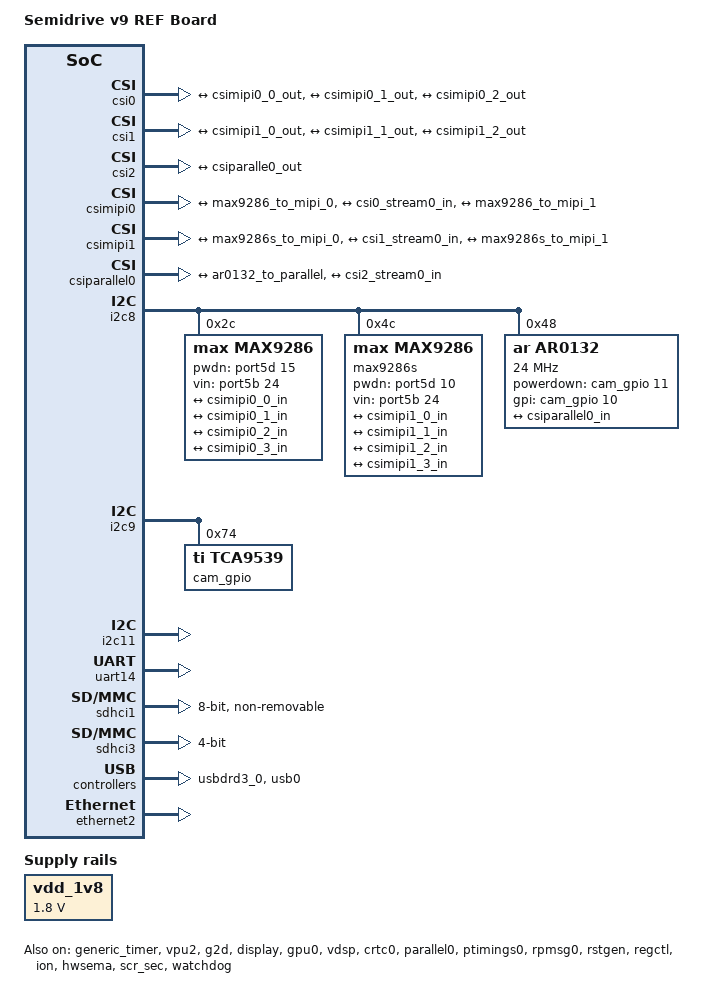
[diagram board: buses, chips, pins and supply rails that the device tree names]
/*
 * Semidrive V9 platform DTS file
 *
 * Copyright (C) 2019, Semidrive  Communications Inc.
 *
 * This file is licensed under a dual GPLv2 or X11 license.
 */

/dts-v1/;

#include "v9f_ap.dtsi"
#include "v9f_ref-clk-ctrl.dtsi"
#include "lcd-timings.dtsi"
#include <dt-bindings/pinctrl/pins-sdx9.h>
#include <dt-bindings/memmap/v9f/projects/default/image_cfg.h>
#include <dt-bindings/memory/sdrv_ion.h>
#include <dt-bindings/rpmsg/sd,v9f-default.h>

/ {
	model = "Semidrive v9 REF Board";

	compatible = "semidrive,kunlun";

	aliases {
		serial0 = &uart14;
		ethernet2 = &ethernet2;
	};

	memory@50000000 {
		device_type = "memory";
		reg = <HIGH32(AP2_KERNEL_MEMBASE-0x80000) LOW32(AP2_KERNEL_MEMBASE-0x80000) HIGH32(AP2_KERNEL_MEMSIZE) LOW32(AP2_KERNEL_MEMSIZE) \
                       0x0 (VDSP_SHARE_MEMBASE+0x4000) 0x0 (VDSP_SHARE_MEMSIZE-0x4000)>;
	};

	reserved-memory {
		#address-cells = <2>;
		#size-cells = <2>;
		ranges;

		/* Default Common CMA Pool */
		/* QUIRK: Must be kept in the lower 4096 MiBs of DRAM banks for VE */
		linux,cma {
			compatible = "shared-dma-pool";
			reusable;
			size = <0x0 0x40000000>; /* 1024MB */
			/* 4GB maximum in case of 32-bit only capable devices */
			alloc-ranges = <0x0 0x0 0x0 0xffffffff>;
			linux,cma-default;
		};

		xrp_reserved: xrp@0 {
			compatible = "shared-dma-pool";
			status = "okay";
			no-map;
			reg = <0x0 VDSP_SHARE_MEMBASE 0x0 0x4000>;
		};

		xrp_shared: xrp,shmem {
			reg = <0x0 (VDSP_SHARE_MEMBASE+0x4000) 0x0 (VDSP_SHARE_MEMSIZE-0x4000)>;
		};

		rproc_0_safety: rproc@0 {
			compatible = "shared-dma-pool";
			no-map;
			reg = <0x0 RPMSG0_MEM_POOL_BASE 0x0 RPMSG0_MEM_POOL_SIZE>;
		};

	};

	chosen {
		bootargs = "skip_initramfs noinitrd root=/dev/mmcblk0p7 rootfstype=ext4 rootwait rw init=/sbin/init highres=1 nr_cpus=1 earlycon loglevel=11 console=ttyS0,115200n8 fbcon=map:1";
		stdout-path = "serial0";
	};

	vdd_1v8: fixed-vdd_1v8 {
		compatible = "regulator-fixed";
		regulator-name = "vdd_1v8";
		regulator-min-microvolt = <1800000>;
		regulator-max-microvolt = <1800000>;
	};

};

&cpu0 {
	clocks = <&CPU2_0>;
	clock-names = "cpu0";
	next-level-cache = <&l2>;
	status = "okay";
};

&dmac2 {
	status = "okay";
};
&dmac3 {
	status = "okay";
};
&dmac4 {
	status = "okay";
};

&dmac5 {
	status = "okay";
};
&dmac6 {
	status = "okay";
};
&dmac7 {
	status = "okay";
};

&csi0 {
	mbus-type = "mipi-csi2";
	pclk-sample = <1>;
	status = "okay";

	ports {
		csi0_stream0: port@0 {
			csi0_stream0_in: endpoint@0 {
				remote-endpoint = <&csimipi0_0_out>;
			};
		};
		csi0_stream1: port@1 {
			csi0_stream1_in: endpoint@0 {
				remote-endpoint = <&csimipi0_1_out>;
			};
		};
		csi0_stream2: port@2 {
			csi0_stream2_in: endpoint@0 {
				remote-endpoint = <&csimipi0_2_out>;
			};
		};
		csi0_stream3: port@3 {
			csi0_stream3_in: endpoint@0 {
				remote-endpoint = <&csimipi0_3_out>;
			};
		};
	};
};

&csi1 {
	mbus-type = "mipi-csi2";
	pclk-sample = <1>;
	status = "okay";

	ports {
		csi1_stream0: port@0 {
			csi1_stream0_in: endpoint@0 {
				remote-endpoint = <&csimipi1_0_out>;
			};
		};
		csi1_stream1: port@1 {
			csi1_stream1_in: endpoint@0 {
				remote-endpoint = <&csimipi1_1_out>;
			};
		};
		csi1_stream2: port@2 {
			csi1_stream2_in: endpoint@0 {
				remote-endpoint = <&csimipi1_2_out>;
			};
		};
		csi1_stream3: port@3 {
			csi1_stream3_in: endpoint@0 {
				remote-endpoint = <&csimipi1_3_out>;
			};
		};
	};
};

&csi2 {
	mbus-type = "parallel";
	vsync-active = <0>;
	pclk-sample = <1>;
	status = "okay";

	ports {
		csi2_stream0: port@0 {
			csi2_stream0_in: endpoint@0 {
				remote-endpoint = <&csiparalle0_out>;
			};
		};

	};
};

&csimipi0 {
	status = "okay";
	lanerate = <72000000>;
	hsa = <10>;
	hbp = <20>;
	hsd = <0x60>;
	output-type = <0x1e>;

	ports {
		#address-cells = <1>;
		#size-cells = <0>;

		port@0 {
			#address-cells = <1>;
			#size-cells = <0>;
			reg = <0>;
			csimipi0_0_in: endpoint@0 {
				remote-endpoint = <&max9286_to_mipi_0>;
				reg = <0>;
			};
			csimipi0_0_out: endpoint@1 {
				remote-endpoint = <&csi0_stream0_in>;
				reg = <0>;
			};
		};
		port@1 {
			#address-cells = <1>;
			#size-cells = <0>;
			reg = <1>;
			csimipi0_1_in: endpoint@0 {
				remote-endpoint = <&max9286_to_mipi_1>;
				reg = <1>;
			};
			csimipi0_1_out: endpoint@1 {
				remote-endpoint = <&csi0_stream1_in>;
				reg = <1>;
			};
		};
		port@2 {
			#address-cells = <1>;
			#size-cells = <0>;
			reg = <2>;
			csimipi0_2_in: endpoint@0 {
				remote-endpoint = <&max9286_to_mipi_2>;
				reg = <2>;
			};
			csimipi0_2_out: endpoint@1 {
				remote-endpoint = <&csi0_stream2_in>;
				reg = <2>;
			};
		};
		port@3 {
			#address-cells = <1>;
			#size-cells = <0>;
			reg = <3>;
			csimipi0_3_in: endpoint@0 {
				remote-endpoint = <&max9286_to_mipi_3>;
				reg = <3>;
			};
			csimipi0_3_out: endpoint@1 {
				remote-endpoint = <&csi0_stream3_in>;
				reg = <3>;
			};
		};
	};
};

&csimipi1 {
	status = "okay";
	lanerate = <72000000>;
	hsa = <10>;
	hbp = <20>;
	hsd = <0x60>;
	output-type = <0x1e>;

	ports {
		#address-cells = <1>;
		#size-cells = <0>;

		port@0 {
			#address-cells = <1>;
			#size-cells = <0>;
			reg = <0>;
			csimipi1_0_in: endpoint@0 {
				remote-endpoint = <&max9286s_to_mipi_0>;
				reg = <0>;
			};
			csimipi1_0_out: endpoint@1 {
				remote-endpoint = <&csi1_stream0_in>;
				reg = <0>;
			};
		};
		port@1 {
			#address-cells = <1>;
			#size-cells = <0>;
			reg = <1>;
			csimipi1_1_in: endpoint@0 {
				remote-endpoint = <&max9286s_to_mipi_1>;
				reg = <1>;
			};
			csimipi1_1_out: endpoint@1 {
				remote-endpoint = <&csi1_stream1_in>;
				reg = <1>;
			};
		};
		port@2 {
			#address-cells = <1>;
			#size-cells = <0>;
			reg = <2>;
			csimipi1_2_in: endpoint@0 {
				remote-endpoint = <&max9286s_to_mipi_2>;
				reg = <2>;
			};
			csimipi1_2_out: endpoint@1 {
				remote-endpoint = <&csi1_stream2_in>;
				reg = <2>;
			};
		};
		port@3 {
			#address-cells = <1>;
			#size-cells = <0>;
			reg = <3>;
			csimipi1_3_in: endpoint@0 {
				remote-endpoint = <&max9286s_to_mipi_3>;
				reg = <3>;
			};
			csimipi1_3_out: endpoint@1 {
				remote-endpoint = <&csi1_stream3_in>;
				reg = <3>;
			};
		};
	};
};

&csiparallel0 {
	status = "okay";
	#address-cells = <1>;
	#size-cells = <0>;

	port {
		#address-cells = <1>;
		#size-cells = <0>;
		reg = <0>;
		csiparallel0_in: endpoint@0 {
			remote-endpoint = <&ar0132_to_parallel>;
		};

		csiparallel0_out: endpoint@1 {
			remote-endpoint = <&csi2_stream0_in>;
		};
	};
};

&i2c4 {
        status = "disabled";
};

&i2c5 {
        status = "disabled";
};

&i2c6 {
        status = "disabled";
};

&i2c7 {
        status = "disabled";
};

&i2c8 {
        status = "okay";

        max9286:max9286@2c {
                compatible = "max,max9286";
                reg = <0x2c>;
                pwdn-gpios = <&port5d 15 0>;
                vin-gpios = <&port5b 24 0>;
                addr_20086 = /bits/ 16 <0x2b>;
                addr_20086_ = /bits/ 16 <0x29>;
                addr_96705 = /bits/ 16 <0x40>;
                addr_0101 = /bits/ 16 <0x5d>;
                semidrive,poc = <&i2c9>;
                ports {
                        port@0 {
                                #address-cells = <1>;
                                #size-cells = <0>;

                                max9286_to_mipi_0: endpoint {
                                        remote-endpoint = <&csimipi0_0_in>;
                                };
                        };
                        port@1 {
                                #address-cells = <1>;
                                #size-cells = <0>;

                                max9286_to_mipi_1: endpoint {
                                        remote-endpoint = <&csimipi0_1_in>;
                                };
                        };
                        port@2 {
                                #address-cells = <1>;
                                #size-cells = <0>;

                                max9286_to_mipi_2: endpoint {
                                        remote-endpoint = <&csimipi0_2_in>;
                                };
                        };
                        port@3 {
                                #address-cells = <1>;
                                #size-cells = <0>;

                                max9286_to_mipi_3: endpoint {
                                        remote-endpoint = <&csimipi0_3_in>;
                                };
                        };
                };
        };

        max9286s:max9286s@4c {
                compatible = "max,max9286";
                reg = <0x4c>;
                pwdn-gpios = <&port5d 10 0>;
                vin-gpios = <&port5b 24 0>;
                addr_20086 = /bits/ 16 <0x2a>;
                addr_20086_ = /bits/ 16 <0x28>;
                addr_96705 = /bits/ 16 <0x40>;
                addr_0101 = /bits/ 16 <0x5d>;
                semidrive,poc = <&i2c9>;
                ports {
                        port@0 {
                                #address-cells = <1>;
                                #size-cells = <0>;

                                max9286s_to_mipi_0: endpoint {
                                        remote-endpoint = <&csimipi1_0_in>;
                                };
                        };
                        port@1 {
                                #address-cells = <1>;
                                #size-cells = <0>;

                                max9286s_to_mipi_1: endpoint {
                                        remote-endpoint = <&csimipi1_1_in>;
                                };
                        };
                        port@2 {
                                #address-cells = <1>;
                                #size-cells = <0>;

                                max9286s_to_mipi_2: endpoint {
                                        remote-endpoint = <&csimipi1_2_in>;
                                };
                        };
                        port@3 {
                                #address-cells = <1>;
                                #size-cells = <0>;

                                max9286s_to_mipi_3: endpoint {
                                        remote-endpoint = <&csimipi1_3_in>;
                                };
                        };
                };
        };

        ar0132:ar0132@48 {
                compatible = "ar,ar0132";
                clock-frequency = <24000000>;
                reg = <0x48>;
                powerdown-gpios = <&cam_gpio 11 0>;
                gpi-gpios = <&cam_gpio 10 0>;
                port {
                        #address-cells = <1>;
                        #size-cells = <0>;

                        ar0132_to_parallel: endpoint {
                                remote-endpoint = <&csiparallel0_in>;
                        };
                };
        };
};

&i2c9 {
        status = "okay";

	cam_gpio: gpio@74 {
		compatible = "ti,tca9539";
		reg = <0x74>;
		#gpio-cells = <2>;
		gpio-controller;
	};
};

&i2c10 {
        status = "disabled";
};

&i2c11 {
	status = "okay";
};

&i2c12 {
	status = "disabled";
};

&i2c13 {
        status = "disabled";
};

&i2c14 {
	status = "disabled";
};

&i2c15 {
	status = "disabled";

};

&uart14 {
	dmas = <&dmac4 X9_DMA_SLV_ID_UART15_TX>, <&dmac4 X9_DMA_SLV_ID_UART15_RX>;
	dma-names = "tx", "rx";
	status = "okay";
};

&generic_timer {
	status = "okay";
};

&adc_ap {
	resolution_value = <0x03>; /*ADC_6_BITS_E0 = 0x00 , ADC_8_BITS_E1 = 0x01 , ADC_10_BITS_E2 = 0x02 , ADC_12_BITS_E3 = 0x03*/
	clksrc_sel = <0x00>; /*ADC_SRC_CLK_ALT_E0 = 0x00 , ADC_SRC_CLK_PCLK_E1 = 0x01 , ADC_SRC_CLK_EXT_E2 = 0x02*/
	clk_value = <24000000>;
	use-adc-fifo;
	vref-supply = <&vdd_1v8>;
	status = "disabled";
};

&vpu2 {
	resets = <&rstgen RSTGEN_MODULE_VPU2>;
	reset-names = "vpu-reset";
	status = "okay";
};

&g2d {
	status = "okay";
};

&display {
	sdriv,crtc = <&crtc0>;
	status = "okay";
};

&gpu0 {
	status = "okay";
};

&vdsp {
	reg = <0x0 VDSP_SHARE_MEMBASE 0x0 0x1000>, /* DSP command queue */
	      <0x0 (VDSP_SHARE_MEMBASE+0x4000) 0x0 (VDSP_SHARE_MEMSIZE-0x4000)>, /* DSP shared memory */
	      <0x0 0x34040000 0x0 0x1000>, /* vdsp mu base address, pass to vdsp, won't map */
	      <0x0 0x38316000 0x0 0x1000>, /* scr 0x458 */
	      <0x0 0x3839e000 0x0 0x1000>, /* scr 0x678 */
	      <0x0 0x38401000 0x0 0x2000>, /* rstgen core 0 */
	      <0x0 0x38466000 0x0 0x1000>; /* rstgen module 38 */
	firmware-name = "xtensa.elf";
	firmware-entry = <VDSP_MEMBASE>;
	/*data ram0, data ram1, system ram, shared ram*/
	ranges = <0x0 0x00a00000 0x0 0x00a00000 0x0 0x00020000
		  0x0 0x00a20000 0x0 0x00a20000 0x0 0x00020000
                  0x0 LOW32(AP2_KERNEL_MEMBASE-0x80000) 0x0 LOW32(AP2_KERNEL_MEMBASE-0x80000) 0x0 LOW32(0x100000000-AP2_KERNEL_MEMBASE+0x80000)
		  0x0 VDSP_MEMBASE 0x0 VDSP_MEMBASE 0x0 VDSP_MEMSIZE
		  0x0 VDSP_SHARE_MEMBASE 0x0 VDSP_SHARE_MEMBASE 0x0 VDSP_SHARE_MEMSIZE>;
	status = "okay";
};

&crtc0 {
	status = "okay";
};

&parallel0 {
	status = "okay";
};

&dtimings0 {
	native-mode = <&hd1024x600>;
};

&ptimings0 {
	status = "okay";
};

&pinctrl {
	reg = <0x0 0x37000000 0x0 0x10000>;
	pinctrl-names = "default";

	sdx9-evk {
		pinctrl_mshc1: mshc1grp {
		kunlun,pins = <
			X9_PINCTRL_EMMC1_CLK__MSHC1_CLK_1 		X9_PINCTRL_OPEN_DRAIN_DISABLE
			X9_PINCTRL_EMMC1_CMD__MSHC1_CMD_1		X9_PINCTRL_OPEN_DRAIN_DISABLE
			X9_PINCTRL_EMMC1_DATA0__MSHC1_DATA_0_1	X9_PINCTRL_OPEN_DRAIN_DISABLE
			X9_PINCTRL_EMMC1_DATA1__MSHC1_DATA_1_1	X9_PINCTRL_OPEN_DRAIN_DISABLE
			X9_PINCTRL_EMMC1_DATA2__MSHC1_DATA_2_1	X9_PINCTRL_OPEN_DRAIN_DISABLE
			X9_PINCTRL_EMMC1_DATA3__MSHC1_DATA_3_1	X9_PINCTRL_OPEN_DRAIN_DISABLE
			X9_PINCTRL_EMMC1_DATA4__MSHC1_DATA_4_1	X9_PINCTRL_OPEN_DRAIN_DISABLE
			X9_PINCTRL_EMMC1_DATA5__MSHC1_DATA_5_1	X9_PINCTRL_OPEN_DRAIN_DISABLE
			X9_PINCTRL_EMMC1_DATA6__MSHC1_DATA_6_1	X9_PINCTRL_OPEN_DRAIN_DISABLE
			X9_PINCTRL_EMMC1_DATA7__MSHC1_DATA_7_1	X9_PINCTRL_OPEN_DRAIN_DISABLE
			X9_PINCTRL_EMMC1_STROBE__MSHC1_STB_1		X9_PINCTRL_OPEN_DRAIN_ENABLE
			X9_PINCTRL_EMMC1_RESET_N__MSHC1_RST_N_1	X9_PINCTRL_OPEN_DRAIN_DISABLE
			>;
		};

		pinctrl_gpiotouch_lvds: touchgrp_lvds {
                        kunlun,pins = <
			X9_PINCTRL_I2S_MC_SD4__GPIO_MUX2_IO80_1          0x00
			X9_PINCTRL_I2S_MC_SD5__GPIO_MUX2_IO81_1          0x00
                        X9_PINCTRL_I2S_MC_SD6__GPIO_MUX2_IO82_1          0x00
                        X9_PINCTRL_I2S_MC_SD7__GPIO_MUX2_IO83_1          0x00
                        >;
                };
		pinctrl_gpiotouch_mipi: touchgrp_mipi {
                        kunlun,pins = <
			X9_PINCTRL_EMMC2_CLK__GPIO_MUX2_IO96_1          0x00
			X9_PINCTRL_EMMC2_CMD__GPIO_MUX2_IO97_1          0x00
                        >;
                };
	};
};

&gpio5 {
	//pinctrl-names = "default";
	//pinctrl-0 = <&pinctrl_gpiotouch_lvds &pinctrl_gpiotouch_mipi>;
	status = "okay";
};

&sdhci1 {
	bus-width = <8>;
	non-removable;
	no-sdio;
	no-sd;
	card-is-emmc;
	disable-wp;
	cap-mmc-highspeed;
	keep-power-in-suspend;
	mmc-ddr-1_8v;
	mmc-hs200-1_8v;
	mmc-hs400-1_8v;
	mmc-hs400-enhanced-strobe;
	status = "okay";
};

&sdhci3 {
	#clock-cells = <1>;
	clocks = <&EMMC3>;
	clock-names = "core";
	max-frequency = <25000000>;
	bus-width = <4>;
	no-1-8-v;
	no-mmc;
	no-sdio;
	disable-wp;
	keep-power-in-suspend;
	status = "okay";
};

&mbox {
	status = "okay";
};

&rpmsg0 {
	memory-region = <&rproc_0_safety>;
	reg = <0x0 RPMSG0_MEM_HEAD_BASE 0x0 RPMSG0_MEM_HEAD_SIZE>;
	status = "okay";
};

&ipcc0 {
	status = "okay";
};

&ipcc1 {
	status = "okay";
};

&usbdrd3_0 {
	status = "okay";
};

&usb0 {
	status = "okay";
};

&ethernet2 {
	status = "okay";
};

&eth_phy2{
	reg = <3>;
};

&rstgen {
	reg = 	<0x0 0x38468000 0x0 0x1000>,	/* vpu2 */
		<0x0 0x38490000 0x0 0x1000>,	/* gpu1 core */
		<0x0 0x38491000 0x0 0x1000>,	/* gpu1 ss */
		<0x0 0x38462000 0x0 0x1000>,	/* GIC5 */
		<0x0 0x3846e000 0x0 0x1000>,	/* cpu2 ss */
		<0x0 0x38409000 0x0 0x2000>;	/* cpu2 core */
	rstgen_resource = <
		RSTGEN_MODULE_VPU2
		RSTGEN_MODULE_GPU1_CORE
		RSTGEN_MODULE_GPU1_SS
		RSTGEN_MODULE_GIC5
		RSTGEN_MODULE_CPU2_SS
		RSTGEN_CORE_CPU2
		>;
	status = "okay";
};

&regctl {
	reg = <0x0 0x38415000 0x0 0x1000>,
		<0x0 0x38418000 0x0 0x1000>,
		<0x0 0x38419000 0x0 0x1000>;
	reg-names = "SDRV_REG_REMAP",
			"SDRV_REG_BOOTREASON",
			"SDRV_REG_HWID";
	status = "okay";
};

&ion {
	status = "okay";
};

&hwsema {
        status = "okay";
};

&scr_sec {
        status = "okay";
};

&watchdog {
	wdt,auto-run = "false";
	status = "okay";
};
